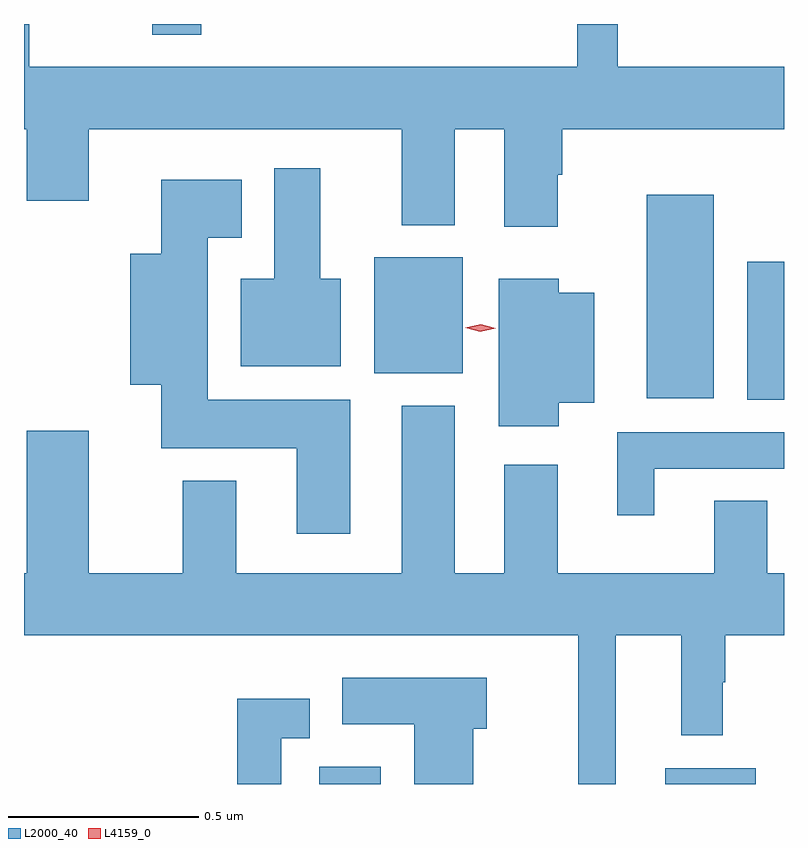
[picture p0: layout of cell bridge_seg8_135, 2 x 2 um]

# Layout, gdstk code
import gdstk
lib = gdstk.Library(unit=1e-6, precision=1e-09)
def R(c, l, rs):  # rectangles x0, y0, x1, y1
    for r in rs: c.add(gdstk.rectangle(r[:2], r[2:], *l))
def P(c, l, *ps):  # polygons
    for p in ps: c.add(gdstk.Polygon(p, *l))
L2000_40 = (2000, 40)
L4159_0 = (4159, 0)

bridge_seg8_135 = lib.new_cell('bridge_seg8_135')
R(bridge_seg8_135, L2000_40, [(453.49,1156.069,453.652,1156.114), (454.4,1156.069,454.639,1156.111), (454.616,1157.08,454.713,1157.443), (454.352,1157.084,454.528,1157.62), (453.635,1157.15,453.868,1157.455), (453.051,1158.041,453.179,1158.069)])
P(bridge_seg8_135, L2000_40, [(454.117,1157.672),(454.13,1157.672),(454.13,1157.792),(454.713,1157.792),(454.713,1157.956),(454.276,1157.956),(454.276,1158.069),(454.169,1158.069),(454.169,1157.956),(452.727,1157.956),(452.727,1158.069),(452.713,1158.069),(452.713,1157.792),(452.72,1157.792),(452.72,1157.604),(452.884,1157.604),(452.884,1157.792),(453.707,1157.792),(453.707,1157.54),(453.847,1157.54),(453.847,1157.792),(453.977,1157.792),(453.977,1157.535),(454.117,1157.535)],
  [(453.547,1157.398),(453.493,1157.398),(453.493,1157.689),(453.371,1157.689),(453.371,1157.398),(453.284,1157.398),(453.284,1157.168),(453.547,1157.168)],
  [(453.571,1157.08),(453.196,1157.08),(453.196,1157.507),(453.286,1157.507),(453.286,1157.659),(453.074,1157.659),(453.074,1157.464),(452.993,1157.464),(452.993,1157.12),(453.074,1157.12),(453.074,1156.952),(453.431,1156.952),(453.431,1156.728),(453.571,1156.728)],
  [(454.12,1157.072),(454.213,1157.072),(454.213,1157.362),(454.12,1157.362),(454.12,1157.398),(453.962,1157.398),(453.962,1157.01),(454.12,1157.01)],
  [(454.27,1156.46),(454.442,1156.46),(454.442,1156.197),(454.552,1156.197),(454.552,1156.337),(454.559,1156.337),(454.559,1156.46),(454.713,1156.46),(454.713,1156.624),(454.669,1156.624),(454.669,1156.814),(454.529,1156.814),(454.529,1156.624),(454.117,1156.624),(454.117,1156.909),(453.977,1156.909),(453.977,1156.624),(453.847,1156.624),(453.847,1157.065),(453.707,1157.065),(453.707,1156.624),(453.271,1156.624),(453.271,1156.867),(453.131,1156.867),(453.131,1156.624),(452.884,1156.624),(452.884,1156.999),(452.72,1156.999),(452.72,1156.624),(452.713,1156.624),(452.713,1156.46),(454.171,1156.46),(454.171,1156.069),(454.27,1156.069)],
  [(454.372,1156.899),(454.713,1156.899),(454.713,1156.995),(454.274,1156.995),(454.274,1156.776),(454.372,1156.776)],
  [(453.895,1156.214),(453.931,1156.214),(453.931,1156.348),(453.55,1156.348),(453.55,1156.226),(453.74,1156.226),(453.74,1156.069),(453.895,1156.069)],
  [(453.39,1156.19),(453.465,1156.19),(453.465,1156.294),(453.274,1156.294),(453.274,1156.069),(453.39,1156.069)])
P(bridge_seg8_135, L4159_0, [(453.914,1157.259),(453.874,1157.27),(453.874,1157.27),(453.874,1157.27),(453.915,1157.279),(453.955,1157.268),(453.955,1157.268),(453.955,1157.268)])

lib.write_gds('bridge_seg8_135.gds')
